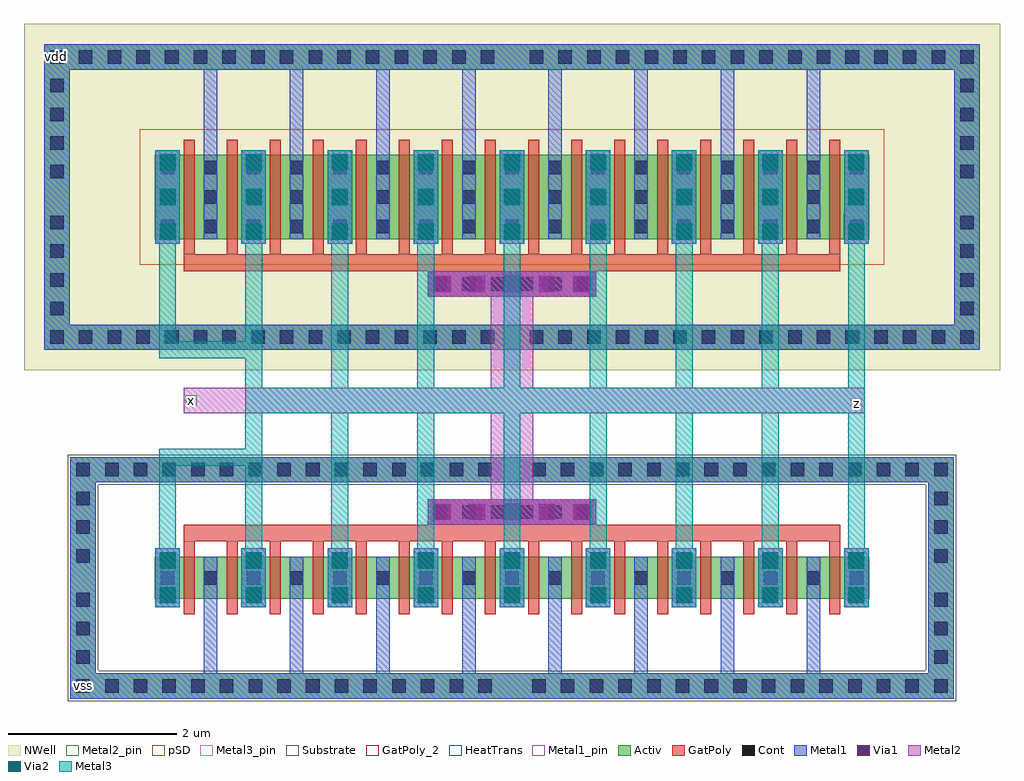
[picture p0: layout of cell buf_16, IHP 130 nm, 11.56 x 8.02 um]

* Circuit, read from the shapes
.subckt buf_16 vdd vss x z
XM1 vss x z vss sg13_lv_nmos w=0.5u l=0.13u m=16
XM2 vdd x z vdd sg13_lv_pmos w=1u l=0.13u m=16
.ends

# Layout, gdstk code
import gdstk
lib = gdstk.Library(unit=1e-6, precision=1e-09)
def R(c, l, rs):  # rectangles x0, y0, x1, y1
    for r in rs: c.add(gdstk.rectangle(r[:2], r[2:], *l))
def A(c, l, x, y, w, h, nx, ny, dx, dy):  # array of equal rectangles
    R(c, l, [(x+i*dx, y+j*dy, x+i*dx+w, y+j*dy+h) for i in range(nx) for j in range(ny)])
def P(c, l, *ps):  # polygons
    for p in ps: c.add(gdstk.Polygon(p, *l))
Activ = (1, 0)
GatPoly = (5, 0)
GatPoly_2 = (5, 2)
Cont = (6, 0)
Metal1 = (8, 0)
Metal1_pin = (8, 2)
Metal2 = (10, 0)
Metal2_pin = (10, 2)
pSD = (14, 0)
Via1 = (19, 0)
Via2 = (29, 0)
Metal3 = (30, 0)
Metal3_pin = (30, 2)
NWell = (31, 0)
Substrate = (40, 0)
HeatTrans = (51, 0)

via_stack_7 = lib.new_cell('via_stack$7')
R(via_stack_7, Metal1, [(-0.145,-0.35,0.145,0.35)])
R(via_stack_7, Metal2, [(-0.145,-0.35,0.145,0.35)])
R(via_stack_7, Via1, [(-0.095,-0.3,0.095,-0.11), (-0.095,0.11,0.095,0.3)])
R(via_stack_7, Via2, [(-0.095,-0.3,0.095,-0.11), (-0.095,0.11,0.095,0.3)])
R(via_stack_7, Metal3, [(-0.145,-0.35,0.145,0.35)])

via_stack_8 = lib.new_cell('via_stack$8')
R(via_stack_8, Metal1, [(-0.145,-0.555,0.145,0.555)])
R(via_stack_8, Metal2, [(-0.145,-0.555,0.145,0.555)])
A(via_stack_8, Via1, -0.095, -0.505, 0.19, 0.19, 1, 3, 0, 0.41)
A(via_stack_8, Via2, -0.095, -0.505, 0.19, 0.19, 1, 3, 0, 0.41)
R(via_stack_8, Metal3, [(-0.145,-0.555,0.145,0.555)])

via_5 = lib.new_cell('Via$5')
R(via_5, Metal1, [(-1,-0.15,1,0.15)])
R(via_5, Metal2, [(-1,-0.15,1,0.15)])
A(via_5, Via1, -0.915, -0.095, 0.19, 0.19, 5, 1, 0.41, 0)

via_6 = lib.new_cell('Via$6')
R(via_6, GatPoly, [(-1,-0.15,1,0.15)])
A(via_6, Cont, -0.93, -0.08, 0.16, 0.16, 6, 1, 0.34, 0)
R(via_6, Metal1, [(-1,-0.15,1,0.15)])

nmos_11 = lib.new_cell('nmos$11')
A(nmos_11, Activ, 0, 0, 0.3, 0.3, 17, 1, 0.51, 0)
R(nmos_11, Activ, [(-1,-0.88,-0.7,1.38), (9.16,-0.88,9.46,1.38), (0,0,8.46,0.5), (-1,1.38,9.46,1.68)])
P(nmos_11, Activ, [(-1,-1.18),(-1,1.38),(-0.7,1.38),(-0.7,-0.88),(9.16,-0.88),(9.16,1.38),(-1,1.38),(-1,1.68),(9.46,1.68),(9.46,-1.18)])
A(nmos_11, GatPoly, 0.34, -0.18, 0.13, 0.86, 16, 1, 0.51, 0)
R(nmos_11, GatPoly_2, [(0.34,-0.18,0.47,0.68)])
A(nmos_11, Cont, -0.93, -1.11, 0.16, 0.16, 15, 2, 0.34, 2.56)
A(nmos_11, Cont, 4.47, -1.11, 0.16, 0.16, 15, 2, 0.34, 2.56)
A(nmos_11, Cont, -0.93, -0.77, 0.16, 0.16, 1, 3, 0, 0.34)
A(nmos_11, Cont, 9.23, -0.77, 0.16, 0.16, 1, 3, 0, 0.34)
A(nmos_11, Cont, 0.07, 0.17, 0.16, 0.16, 17, 1, 0.51, 0)
A(nmos_11, Cont, -0.93, 0.43, 0.16, 0.16, 1, 3, 0, 0.34)
A(nmos_11, Cont, 9.23, 0.43, 0.16, 0.16, 1, 3, 0, 0.34)
A(nmos_11, Metal1, 0.07, 0, 0.16, 0.5, 17, 1, 0.51, 0)
R(nmos_11, Metal1, [(-1,-1.18,9.46,-0.88), (-1,-0.88,-0.7,1.38), (9.16,-0.88,9.46,1.38), (-1,1.38,9.46,1.68)])
R(nmos_11, Metal1_pin, [(0.07,0,0.23,0.5), (0.58,0,0.74,0.5)])
R(nmos_11, pSD, [(-1.03,-0.85,-0.67,1.35), (9.13,-0.85,9.49,1.35), (-1.03,1.35,9.49,1.71)])
P(nmos_11, pSD, [(-1.03,-1.21),(-1.03,1.35),(-0.67,1.35),(-0.67,-0.85),(9.13,-0.85),(9.13,1.35),(-1.03,1.35),(-1.03,1.71),(9.49,1.71),(9.49,-1.21)])
R(nmos_11, Substrate, [(-1.03,-0.85,-0.67,1.35), (9.13,-0.85,9.49,1.35), (-1.03,1.35,9.49,1.71)])
P(nmos_11, Substrate, [(-1.03,-1.21),(-1.03,1.35),(-0.67,1.35),(-0.67,-0.85),(9.13,-0.85),(9.13,1.35),(-1.03,1.35),(-1.03,1.71),(9.49,1.71),(9.49,-1.21)])
A(nmos_11, HeatTrans, 0.34, -0.18, 0.13, 0.86, 16, 1, 0.51, 0)
nmos_11.add(gdstk.Label('nmos', (0.405,0.25), layer=63, texttype=0))
nmos_11.add(gdstk.Label('sub!', (4.23,-1.03), layer=63, texttype=0))
nmos_11.add(gdstk.Label('nmos', (0.405,0.25), layer=51, texttype=0))
nmos_11.add(gdstk.Label('nmos', (0.915,0.25), layer=51, texttype=0))
nmos_11.add(gdstk.Label('nmos', (1.425,0.25), layer=51, texttype=0))
nmos_11.add(gdstk.Label('nmos', (1.935,0.25), layer=51, texttype=0))
nmos_11.add(gdstk.Label('nmos', (2.445,0.25), layer=51, texttype=0))
nmos_11.add(gdstk.Label('nmos', (2.955,0.25), layer=51, texttype=0))
nmos_11.add(gdstk.Label('nmos', (3.465,0.25), layer=51, texttype=0))
nmos_11.add(gdstk.Label('nmos', (3.975,0.25), layer=51, texttype=0))
nmos_11.add(gdstk.Label('nmos', (4.485,0.25), layer=51, texttype=0))
nmos_11.add(gdstk.Label('nmos', (4.995,0.25), layer=51, texttype=0))
nmos_11.add(gdstk.Label('nmos', (5.505,0.25), layer=51, texttype=0))
nmos_11.add(gdstk.Label('nmos', (6.015,0.25), layer=51, texttype=0))
nmos_11.add(gdstk.Label('nmos', (6.525,0.25), layer=51, texttype=0))
nmos_11.add(gdstk.Label('nmos', (7.035,0.25), layer=51, texttype=0))
nmos_11.add(gdstk.Label('nmos', (7.545,0.25), layer=51, texttype=0))
nmos_11.add(gdstk.Label('nmos', (8.055,0.25), layer=51, texttype=0))

pmos_6 = lib.new_cell('pmos$6')
A(pmos_6, Activ, 0, 0, 0.3, 0.3, 17, 1, 0.51, 0)
R(pmos_6, Activ, [(-1.31,-1.01,-1.01,2.01), (9.47,-1.01,9.77,2.01), (0,0,8.46,1), (-1.31,2.01,9.77,2.31)])
P(pmos_6, Activ, [(-1.31,-1.31),(-1.31,2.01),(-1.01,2.01),(-1.01,-1.01),(9.47,-1.01),(9.47,2.01),(-1.31,2.01),(-1.31,2.31),(9.77,2.31),(9.77,-1.31)])
A(pmos_6, GatPoly, 0.34, -0.18, 0.13, 1.36, 16, 1, 0.51, 0)
R(pmos_6, GatPoly, [(0.34,-0.18,0.47,1.18)])
A(pmos_6, Cont, -1.24, -1.24, 0.16, 0.16, 16, 2, 0.34, 3.32)
A(pmos_6, Cont, 4.44, -1.24, 0.16, 0.16, 16, 2, 0.34, 3.32)
A(pmos_6, Cont, -1.24, -0.9, 0.16, 0.16, 1, 4, 0, 0.34)
A(pmos_6, Cont, 9.54, -0.9, 0.16, 0.16, 1, 4, 0, 0.34)
A(pmos_6, Cont, 0.07, 0.07, 0.16, 0.16, 17, 3, 0.51, 0.35)
A(pmos_6, Cont, -1.24, 0.72, 0.16, 0.16, 1, 4, 0, 0.34)
A(pmos_6, Cont, 9.54, 0.72, 0.16, 0.16, 1, 4, 0, 0.34)
A(pmos_6, Metal1, 0.58, 0, 0.16, 1, 16, 1, 0.51, 0)
R(pmos_6, Metal1, [(-1.31,-1.31,9.77,-1.01), (-1.31,-1.01,-1.01,2.01), (9.47,-1.01,9.77,2.01), (0.07,0,0.23,1), (0.07,0,0.23,1), (0.58,0,0.74,1), (-1.31,2.01,9.77,2.31)])
R(pmos_6, pSD, [(-0.18,-0.3,8.64,1.3)])
R(pmos_6, NWell, [(-1.55,-1.55,10.01,2.55), (-0.31,-0.31,8.77,1.31)])
R(pmos_6, Substrate, [(8.16,0,8.46,0.3)])
A(pmos_6, HeatTrans, 0.34, -0.18, 0.13, 1.36, 16, 1, 0.51, 0)
pmos_6.add(gdstk.Label('pmos', (0.405,0.5), layer=63, texttype=0))
pmos_6.add(gdstk.Label('well', (4.23,-1.16), layer=63, texttype=0))
pmos_6.add(gdstk.Label('pmos', (0.405,0.5), layer=51, texttype=0))
pmos_6.add(gdstk.Label('pmos', (0.915,0.5), layer=51, texttype=0))
pmos_6.add(gdstk.Label('pmos', (1.425,0.5), layer=51, texttype=0))
pmos_6.add(gdstk.Label('pmos', (1.935,0.5), layer=51, texttype=0))
pmos_6.add(gdstk.Label('pmos', (2.445,0.5), layer=51, texttype=0))
pmos_6.add(gdstk.Label('pmos', (2.955,0.5), layer=51, texttype=0))
pmos_6.add(gdstk.Label('pmos', (3.465,0.5), layer=51, texttype=0))
pmos_6.add(gdstk.Label('pmos', (3.975,0.5), layer=51, texttype=0))
pmos_6.add(gdstk.Label('pmos', (4.485,0.5), layer=51, texttype=0))
pmos_6.add(gdstk.Label('pmos', (4.995,0.5), layer=51, texttype=0))
pmos_6.add(gdstk.Label('pmos', (5.505,0.5), layer=51, texttype=0))
pmos_6.add(gdstk.Label('pmos', (6.015,0.5), layer=51, texttype=0))
pmos_6.add(gdstk.Label('pmos', (6.525,0.5), layer=51, texttype=0))
pmos_6.add(gdstk.Label('pmos', (7.035,0.5), layer=51, texttype=0))
pmos_6.add(gdstk.Label('pmos', (7.545,0.5), layer=51, texttype=0))
pmos_6.add(gdstk.Label('pmos', (8.055,0.5), layer=51, texttype=0))

buf_16 = lib.new_cell('buf_16')
R(buf_16, Metal1_pin, [(0.635,0.115,0.765,0.245), (0.325,7.565,0.455,7.695)])
R(buf_16, Metal2_pin, [(1.915,3.495,2.045,3.625)])
R(buf_16, Metal3_pin, [(9.795,3.455,9.925,3.585)])
buf_16.add(gdstk.FlexPath([(1.89,3.56),(9.96,3.56)], 0.3, ends="flush", simple_path=True, layer=10, datatype=0))  # Metal2
buf_16.add(gdstk.FlexPath([(5.78,2.24),(5.78,4.94)], 0.5, ends="flush", simple_path=True, layer=10, datatype=0))  # Metal2
buf_16.add(gdstk.FlexPath([(1.7,5.47),(1.7,4.16),(2.8,4.16)], 0.2, ends="flush", simple_path=True, layer=30, datatype=0))  # Metal3
buf_16.add(gdstk.FlexPath([(2.72,5.47),(2.72,1.71)], 0.2, ends="flush", simple_path=True, layer=30, datatype=0))  # Metal3
buf_16.add(gdstk.FlexPath([(3.74,5.47),(3.74,1.71)], 0.2, ends="flush", simple_path=True, layer=30, datatype=0))  # Metal3
buf_16.add(gdstk.FlexPath([(4.76,5.47),(4.76,1.71)], 0.2, ends="flush", simple_path=True, layer=30, datatype=0))  # Metal3
buf_16.add(gdstk.FlexPath([(5.78,5.47),(5.78,1.71)], 0.2, ends="flush", simple_path=True, layer=30, datatype=0))  # Metal3
buf_16.add(gdstk.FlexPath([(6.8,5.47),(6.8,1.71)], 0.2, ends="flush", simple_path=True, layer=30, datatype=0))  # Metal3
buf_16.add(gdstk.FlexPath([(7.82,5.47),(7.82,1.71)], 0.2, ends="flush", simple_path=True, layer=30, datatype=0))  # Metal3
buf_16.add(gdstk.FlexPath([(8.84,5.47),(8.84,1.71)], 0.2, ends="flush", simple_path=True, layer=30, datatype=0))  # Metal3
buf_16.add(gdstk.FlexPath([(9.86,5.47),(9.86,1.71)], 0.2, ends="flush", simple_path=True, layer=30, datatype=0))  # Metal3
buf_16.add(gdstk.FlexPath([(1.7,1.71),(1.7,2.89),(2.8,2.89)], 0.2, ends="flush", simple_path=True, layer=30, datatype=0))  # Metal3
buf_16.add(gdstk.FlexPath([(9.96,3.56),(2.62,3.56)], 0.3, ends="flush", simple_path=True, layer=30, datatype=0))  # Metal3
buf_16.add(gdstk.FlexPath([(2.21,6.47),(2.21,7.78)], 0.16, ends="flush", simple_path=True, layer=8, datatype=0))  # Metal1
buf_16.add(gdstk.FlexPath([(3.23,6.47),(3.23,7.78)], 0.16, ends="flush", simple_path=True, layer=8, datatype=0))  # Metal1
buf_16.add(gdstk.FlexPath([(4.25,6.47),(4.25,7.78)], 0.16, ends="flush", simple_path=True, layer=8, datatype=0))  # Metal1
buf_16.add(gdstk.FlexPath([(5.27,6.47),(5.27,7.78)], 0.16, ends="flush", simple_path=True, layer=8, datatype=0))  # Metal1
buf_16.add(gdstk.FlexPath([(6.29,6.47),(6.29,7.78)], 0.16, ends="flush", simple_path=True, layer=8, datatype=0))  # Metal1
buf_16.add(gdstk.FlexPath([(7.31,6.47),(7.31,7.78)], 0.16, ends="flush", simple_path=True, layer=8, datatype=0))  # Metal1
buf_16.add(gdstk.FlexPath([(8.33,6.47),(8.33,7.78)], 0.16, ends="flush", simple_path=True, layer=8, datatype=0))  # Metal1
buf_16.add(gdstk.FlexPath([(9.35,6.47),(9.35,7.78)], 0.16, ends="flush", simple_path=True, layer=8, datatype=0))  # Metal1
buf_16.add(gdstk.FlexPath([(2.21,0.03),(2.21,1.21)], 0.16, ends="flush", simple_path=True, layer=8, datatype=0))  # Metal1
buf_16.add(gdstk.FlexPath([(3.23,0.03),(3.23,1.21)], 0.16, ends="flush", simple_path=True, layer=8, datatype=0))  # Metal1
buf_16.add(gdstk.FlexPath([(4.25,0.03),(4.25,1.21)], 0.16, ends="flush", simple_path=True, layer=8, datatype=0))  # Metal1
buf_16.add(gdstk.FlexPath([(5.27,0.03),(5.27,1.21)], 0.16, ends="flush", simple_path=True, layer=8, datatype=0))  # Metal1
buf_16.add(gdstk.FlexPath([(6.29,0.03),(6.29,1.21)], 0.16, ends="flush", simple_path=True, layer=8, datatype=0))  # Metal1
buf_16.add(gdstk.FlexPath([(7.31,0.03),(7.31,1.21)], 0.16, ends="flush", simple_path=True, layer=8, datatype=0))  # Metal1
buf_16.add(gdstk.FlexPath([(8.33,0.03),(8.33,1.21)], 0.16, ends="flush", simple_path=True, layer=8, datatype=0))  # Metal1
buf_16.add(gdstk.FlexPath([(9.35,0.03),(9.35,1.21)], 0.16, ends="flush", simple_path=True, layer=8, datatype=0))  # Metal1
buf_16.add(gdstk.FlexPath([(1.89,5.19),(9.67,5.19)], 0.2, ends="flush", simple_path=True, layer=5, datatype=0))  # GatPoly
buf_16.add(gdstk.FlexPath([(1.89,1.99),(9.67,1.99)], 0.2, ends="flush", simple_path=True, layer=5, datatype=0))  # GatPoly
buf_16.add(gdstk.Reference(via_stack_7, (1.7,1.46)))
buf_16.add(gdstk.Reference(via_stack_7, (2.72,1.46)))
buf_16.add(gdstk.Reference(via_stack_7, (3.74,1.46)))
buf_16.add(gdstk.Reference(via_stack_7, (4.76,1.46)))
buf_16.add(gdstk.Reference(via_stack_7, (5.78,1.46)))
buf_16.add(gdstk.Reference(via_stack_7, (6.8,1.46)))
buf_16.add(gdstk.Reference(via_stack_7, (7.82,1.46)))
buf_16.add(gdstk.Reference(via_stack_7, (8.84,1.46)))
buf_16.add(gdstk.Reference(via_stack_7, (9.86,1.46)))
buf_16.add(gdstk.Reference(via_stack_8, (1.7,5.97)))
buf_16.add(gdstk.Reference(via_stack_8, (2.72,5.97)))
buf_16.add(gdstk.Reference(via_stack_8, (3.74,5.97)))
buf_16.add(gdstk.Reference(via_stack_8, (4.76,5.97)))
buf_16.add(gdstk.Reference(via_stack_8, (5.78,5.97)))
buf_16.add(gdstk.Reference(via_stack_8, (6.8,5.97)))
buf_16.add(gdstk.Reference(via_stack_8, (7.82,5.97)))
buf_16.add(gdstk.Reference(via_stack_8, (8.84,5.97)))
buf_16.add(gdstk.Reference(via_stack_8, (9.86,5.97)))
buf_16.add(gdstk.Reference(via_5, (5.78,2.24)))
buf_16.add(gdstk.Reference(via_5, (5.78,4.94)))
buf_16.add(gdstk.Reference(via_6, (5.78,2.24)))
buf_16.add(gdstk.Reference(via_6, (5.78,4.94)))
buf_16.add(gdstk.Reference(nmos_11, (1.55,1.21)))
buf_16.add(gdstk.Reference(pmos_6, (1.55,5.47)))
buf_16.add(gdstk.Label('vdd', (0.39,7.63), layer=8, texttype=25))
buf_16.add(gdstk.Label('vss', (0.7,0.18), layer=8, texttype=25))
buf_16.add(gdstk.Label('x', (1.98,3.56), layer=10, texttype=25))
buf_16.add(gdstk.Label('z', (9.86,3.52), layer=30, texttype=25))

lib.write_gds('buf_16.gds')
